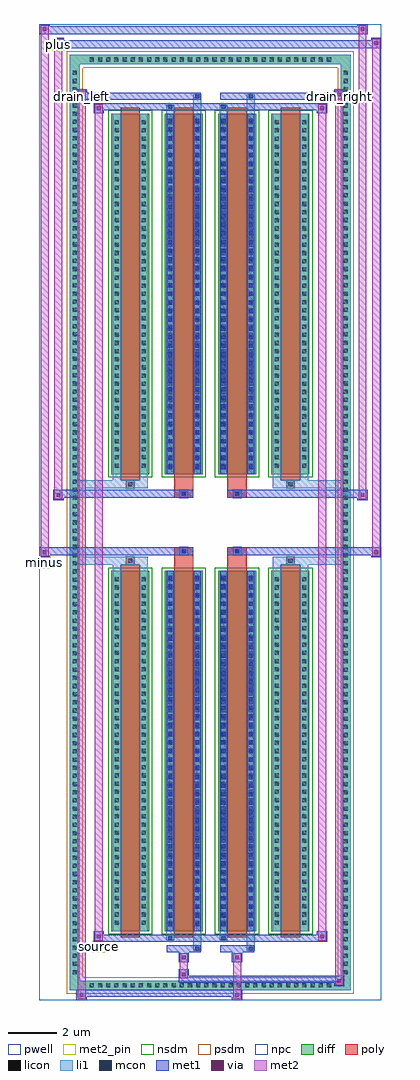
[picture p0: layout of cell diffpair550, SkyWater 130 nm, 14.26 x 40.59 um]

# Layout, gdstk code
import gdstk
lib = gdstk.Library(unit=1e-6, precision=5e-09)
def R(c, l, rs):  # rectangles x0, y0, x1, y1
    for r in rs: c.add(gdstk.rectangle(r[:2], r[2:], *l))
def A(c, l, x, y, w, h, nx, ny, dx, dy):  # array of equal rectangles
    R(c, l, [(x+i*dx, y+j*dy, x+i*dx+w, y+j*dy+h) for i in range(nx) for j in range(ny)])
def P(c, l, *ps):  # polygons
    for p in ps: c.add(gdstk.Polygon(p, *l))
pwell = (64, 44)
diff = (65, 20)
poly = (66, 20)
licon = (66, 44)
li1 = (67, 20)
mcon = (67, 44)
met1 = (68, 20)
via = (68, 44)
met2_pin = (69, 16)
met2 = (69, 20)
nsdm = (93, 44)
psdm = (94, 20)
npc = (95, 20)

diffpair550 = lib.new_cell('diffpair550')
R(diffpair550, pwell, [(-7.11,-19.86,7.11,20.73), (-4.43,-18.05,-0.01,-0.825), (0.01,-18.05,4.43,-0.825), (-4.43,0.825,-0.01,18.05), (0.01,0.825,4.43,18.05)])
A(diffpair550, diff, -5.135, -19.46, 0.41, 0.41, 30, 2, 0.34, 38.51)
A(diffpair550, diff, -5.84, -18.905, 0.41, 0.41, 1, 111, 0, 0.34)
A(diffpair550, diff, 5.43, -18.905, 0.41, 0.41, 1, 111, 0, 0.34)
A(diffpair550, diff, -4.12, -17.005, 1.58, 15, 4, 2, 2.22, 19.01)
R(diffpair550, diff, [(-5.135,-19.46,5.135,-19.05), (-5.84,-18.905,-5.43,18.905), (5.43,-18.905,5.84,18.905), (-5.135,19.05,5.135,19.46)])
P(diffpair550, diff, [(5.84,19.46),(-5.84,19.46),(-5.84,-19.05),(-5.43,-19.05),(-5.43,19.05),(5.43,19.05),(5.43,-19.05),(-5.43,-19.05),(-5.84,-19.05),(-5.84,-19.46),(5.84,-19.46)])
A(diffpair550, poly, -3.73, -17.255, 0.8, 15.5, 4, 2, 2.22, 19.01)
R(diffpair550, poly, [(-3.495,-1.755,-3.165,-1.425), (-3.495,-1.755,-3.165,-1.425), (-1.51,-1.755,-0.71,-1.355), (0.71,-1.755,1.51,-1.355), (3.165,-1.755,3.495,-1.425), (3.165,-1.755,3.495,-1.425), (-1.51,-1.355,-0.71,-1.025), (-1.275,-1.355,-0.945,-1.025), (0.71,-1.355,1.51,-1.025), (0.945,-1.355,1.275,-1.025), (-1.51,1.025,-0.71,1.355), (-1.275,1.025,-0.945,1.355), (0.71,1.025,1.51,1.355), (0.945,1.025,1.275,1.355), (-1.51,1.355,-0.71,1.755), (0.71,1.355,1.51,1.755), (-3.495,1.425,-3.165,1.755), (-3.495,1.425,-3.165,1.755), (3.165,1.425,3.495,1.755), (3.165,1.425,3.495,1.755)])
A(diffpair550, licon, -5.015, -19.34, 0.17, 0.17, 30, 2, 0.34, 38.51)
A(diffpair550, licon, -5.72, -18.785, 0.17, 0.17, 1, 111, 0, 0.34)
A(diffpair550, licon, 5.55, -18.785, 0.17, 0.17, 1, 111, 0, 0.34)
A(diffpair550, licon, -3.98, -16.73, 0.17, 0.17, 1, 43, 0, 0.34)
A(diffpair550, licon, -2.85, -16.73, 0.17, 0.17, 1, 43, 0, 0.34)
A(diffpair550, licon, -1.76, -16.73, 0.17, 0.17, 1, 43, 0, 0.34)
A(diffpair550, licon, -0.63, -16.73, 0.17, 0.17, 1, 43, 0, 0.34)
A(diffpair550, licon, 0.46, -16.73, 0.17, 0.17, 1, 43, 0, 0.34)
A(diffpair550, licon, 1.59, -16.73, 0.17, 0.17, 1, 43, 0, 0.34)
A(diffpair550, licon, 2.68, -16.73, 0.17, 0.17, 1, 43, 0, 0.34)
A(diffpair550, licon, 3.81, -16.73, 0.17, 0.17, 1, 43, 0, 0.34)
A(diffpair550, licon, -3.98, 2.28, 0.17, 0.17, 1, 43, 0, 0.34)
A(diffpair550, licon, -2.85, 2.28, 0.17, 0.17, 1, 43, 0, 0.34)
A(diffpair550, licon, -1.76, 2.28, 0.17, 0.17, 1, 43, 0, 0.34)
A(diffpair550, licon, -0.63, 2.28, 0.17, 0.17, 1, 43, 0, 0.34)
A(diffpair550, licon, 0.46, 2.28, 0.17, 0.17, 1, 43, 0, 0.34)
A(diffpair550, licon, 1.59, 2.28, 0.17, 0.17, 1, 43, 0, 0.34)
A(diffpair550, licon, 2.68, 2.28, 0.17, 0.17, 1, 43, 0, 0.34)
A(diffpair550, licon, 3.81, 2.28, 0.17, 0.17, 1, 43, 0, 0.34)
R(diffpair550, licon, [(-3.415,-1.675,-3.245,-1.505), (3.245,-1.675,3.415,-1.505), (-1.195,-1.275,-1.025,-1.105), (1.025,-1.275,1.195,-1.105), (-1.195,1.105,-1.025,1.275), (1.025,1.105,1.195,1.275), (-3.415,1.505,-3.245,1.675), (3.245,1.505,3.415,1.675)])
A(diffpair550, li1, -5.095, -19.42, 0.33, 0.33, 30, 2, 0.34, 38.51)
A(diffpair550, li1, -5.8, -18.865, 0.33, 0.33, 1, 111, 0, 0.34)
A(diffpair550, li1, 5.47, -18.865, 0.33, 0.33, 1, 111, 0, 0.34)
A(diffpair550, li1, -4.06, -16.81, 0.33, 0.33, 1, 43, 0, 0.34)
A(diffpair550, li1, -2.93, -16.81, 0.33, 0.33, 1, 43, 0, 0.34)
A(diffpair550, li1, -1.84, -16.81, 0.33, 0.33, 1, 43, 0, 0.34)
A(diffpair550, li1, -0.71, -16.81, 0.33, 0.33, 1, 43, 0, 0.34)
A(diffpair550, li1, 0.38, -16.81, 0.33, 0.33, 1, 43, 0, 0.34)
A(diffpair550, li1, 1.51, -16.81, 0.33, 0.33, 1, 43, 0, 0.34)
A(diffpair550, li1, 2.6, -16.81, 0.33, 0.33, 1, 43, 0, 0.34)
A(diffpair550, li1, 3.73, -16.81, 0.33, 0.33, 1, 43, 0, 0.34)
A(diffpair550, li1, -1.76, -16.79, 0.17, 0.17, 1, 41, 0, 0.36)
A(diffpair550, li1, -0.63, -16.79, 0.17, 0.17, 1, 41, 0, 0.36)
A(diffpair550, li1, 0.46, -16.79, 0.17, 0.17, 1, 41, 0, 0.36)
A(diffpair550, li1, 1.59, -16.79, 0.17, 0.17, 1, 41, 0, 0.36)
A(diffpair550, li1, -4.06, 2.2, 0.33, 0.33, 1, 43, 0, 0.34)
A(diffpair550, li1, -2.93, 2.2, 0.33, 0.33, 1, 43, 0, 0.34)
A(diffpair550, li1, -1.84, 2.2, 0.33, 0.33, 1, 43, 0, 0.34)
A(diffpair550, li1, -0.71, 2.2, 0.33, 0.33, 1, 43, 0, 0.34)
A(diffpair550, li1, 0.38, 2.2, 0.33, 0.33, 1, 43, 0, 0.34)
A(diffpair550, li1, 1.51, 2.2, 0.33, 0.33, 1, 43, 0, 0.34)
A(diffpair550, li1, 2.6, 2.2, 0.33, 0.33, 1, 43, 0, 0.34)
A(diffpair550, li1, 3.73, 2.2, 0.33, 0.33, 1, 43, 0, 0.34)
A(diffpair550, li1, -1.76, 2.22, 0.17, 0.17, 1, 41, 0, 0.36)
A(diffpair550, li1, -0.63, 2.22, 0.17, 0.17, 1, 41, 0, 0.36)
A(diffpair550, li1, 0.46, 2.22, 0.17, 0.17, 1, 41, 0, 0.36)
A(diffpair550, li1, 1.59, 2.22, 0.17, 0.17, 1, 41, 0, 0.36)
R(diffpair550, li1, [(-5.84,-19.46,-5.43,-19.05), (-5.84,-19.46,-5.43,-19.05), (-5.43,-19.46,5.43,-19.05), (5.43,-19.46,5.84,-19.05), (5.43,-19.46,5.84,-19.05), (-5.84,-19.05,-5.43,19.05), (5.43,-19.05,5.84,19.05), (-0.71,-17.81,-0.38,-17.005), (-0.63,-17.81,-0.46,-17.64), (1.51,-17.81,1.84,-17.005), (1.59,-17.81,1.76,-17.64), (-1.84,-17.38,-1.51,-17.005), (-1.76,-17.38,-1.59,-17.21), (0.38,-17.38,0.71,-17.005), (0.46,-17.38,0.63,-17.21), (-4.06,-17.005,-3.73,-2.005), (-2.93,-17.005,-2.6,-2.005), (-1.84,-17.005,-1.51,-2.005), (-0.71,-17.005,-0.38,-2.005), (0.38,-17.005,0.71,-2.005), (1.51,-17.005,1.84,-2.005), (2.6,-17.005,2.93,-2.005), (3.73,-17.005,4.06,-2.005), (-1.76,-16.79,-1.59,-2.22), (-0.63,-16.79,-0.46,-2.22), (0.46,-16.79,0.63,-2.22), (1.59,-16.79,1.76,-2.22), (-4.06,-2.005,-3.73,-1.425), (-2.93,-2.005,-2.6,-1.425), (2.6,-2.005,2.93,-1.425), (3.73,-2.005,4.06,-1.425), (-5.84,-1.755,-3.495,-1.425), (-4.06,-1.755,-3.495,-1.425), (-3.495,-1.755,-3.165,-1.425), (-3.165,-1.755,-2.6,-1.425), (2.6,-1.755,3.165,-1.425), (3.165,-1.755,3.495,-1.425), (3.165,-1.755,5.84,-1.425), (3.495,-1.755,4.06,-1.425), (-1.275,-1.355,-0.945,-1.025), (0.945,-1.355,1.275,-1.025), (-1.275,1.025,-0.945,1.355), (0.945,1.025,1.275,1.355), (-5.84,1.425,-3.495,1.755), (-4.06,1.425,-3.495,1.755), (-4.06,1.425,-3.73,2.005), (-3.495,1.425,-3.165,1.755), (-3.165,1.425,-2.6,1.755), (-2.93,1.425,-2.6,2.005), (2.6,1.425,3.165,1.755), (2.6,1.425,2.93,2.005), (3.165,1.425,3.495,1.755), (3.165,1.425,5.84,1.755), (3.495,1.425,4.06,1.755), (3.73,1.425,4.06,2.005), (-4.06,2.005,-3.73,17.005), (-2.93,2.005,-2.6,17.005), (-1.84,2.005,-1.51,17.005), (-0.71,2.005,-0.38,17.005), (0.38,2.005,0.71,17.005), (1.51,2.005,1.84,17.005), (2.6,2.005,2.93,17.005), (3.73,2.005,4.06,17.005), (-1.76,2.22,-1.59,16.79), (-0.63,2.22,-0.46,16.79), (0.46,2.22,0.63,16.79), (1.59,2.22,1.76,16.79), (-1.84,17.005,-1.51,17.38), (-0.71,17.005,-0.38,17.81), (0.38,17.005,0.71,17.38), (1.51,17.005,1.84,17.81), (-1.76,17.21,-1.59,17.38), (0.46,17.21,0.63,17.38), (-0.63,17.64,-0.46,17.81), (1.59,17.64,1.76,17.81), (-5.84,19.05,-5.43,19.46), (-5.84,19.05,-5.43,19.46), (-5.43,19.05,5.43,19.46), (5.43,19.05,5.84,19.46), (5.43,19.05,5.84,19.46)])
A(diffpair550, mcon, -1.76, -16.79, 0.17, 0.17, 1, 41, 0, 0.36)
A(diffpair550, mcon, -0.63, -16.79, 0.17, 0.17, 1, 41, 0, 0.36)
A(diffpair550, mcon, 0.46, -16.79, 0.17, 0.17, 1, 41, 0, 0.36)
A(diffpair550, mcon, 1.59, -16.79, 0.17, 0.17, 1, 41, 0, 0.36)
A(diffpair550, mcon, -1.76, 2.22, 0.17, 0.17, 1, 41, 0, 0.36)
A(diffpair550, mcon, -0.63, 2.22, 0.17, 0.17, 1, 41, 0, 0.36)
A(diffpair550, mcon, 0.46, 2.22, 0.17, 0.17, 1, 41, 0, 0.36)
A(diffpair550, mcon, 1.59, 2.22, 0.17, 0.17, 1, 41, 0, 0.36)
R(diffpair550, mcon, [(-0.63,-17.81,-0.46,-17.64), (1.59,-17.81,1.76,-17.64), (-1.76,-17.38,-1.59,-17.21), (0.46,-17.38,0.63,-17.21), (-1.195,-1.275,-1.025,-1.105), (1.025,-1.275,1.195,-1.105), (-1.195,1.105,-1.025,1.275), (1.025,1.105,1.195,1.275), (-1.76,17.21,-1.59,17.38), (0.46,17.21,0.63,17.38), (-0.63,17.64,-0.46,17.81), (1.59,17.64,1.76,17.81)])
A(diffpair550, met1, -1.82, -16.85, 0.29, 0.29, 1, 41, 0, 0.36)
A(diffpair550, met1, -0.69, -16.85, 0.29, 0.29, 1, 41, 0, 0.36)
A(diffpair550, met1, 0.4, -16.85, 0.29, 0.29, 1, 41, 0, 0.36)
A(diffpair550, met1, 1.53, -16.85, 0.29, 0.29, 1, 41, 0, 0.36)
A(diffpair550, met1, -1.82, 2.16, 0.29, 0.29, 1, 41, 0, 0.36)
A(diffpair550, met1, -0.69, 2.16, 0.29, 0.29, 1, 41, 0, 0.36)
A(diffpair550, met1, 0.4, 2.16, 0.29, 0.29, 1, 41, 0, 0.36)
A(diffpair550, met1, 1.53, 2.16, 0.29, 0.29, 1, 41, 0, 0.36)
R(diffpair550, met1, [(-5.57,-19.86,-5.14,-19.43), (0.895,-19.86,1.325,-19.43), (-5.57,-19.72,1.325,-19.43), (5.14,-19.29,5.57,-18.86), (-1.325,-19.15,5.57,-18.86), (-1.325,-19.01,-0.895,-18.58), (-1.325,-18.3,-0.895,-17.87), (0.895,-18.3,1.325,-17.87), (-1.82,-17.87,-0.4,-17.58), (-0.69,-17.87,-0.4,-17.58), (0.4,-17.87,1.82,-17.58), (1.53,-17.87,1.82,-17.58), (-4.86,-17.44,-4.43,-17.01), (-4.86,-17.44,-1.82,-17.15), (-1.82,-17.44,-1.53,-17.15), (-1.82,-17.44,-0.4,-17.15), (-0.4,-17.44,0.4,-17.15), (0.4,-17.44,0.69,-17.15), (0.4,-17.44,1.82,-17.15), (1.82,-17.44,4.86,-17.15), (4.43,-17.44,4.86,-17.01), (-1.82,-17.005,-1.53,-2.005), (-0.69,-17.005,-0.4,-2.005), (0.4,-17.005,0.69,-2.005), (1.53,-17.005,1.82,-2.005), (-7.11,-1.455,-6.68,-1.025), (6.68,-1.455,7.11,-1.025), (-7.11,-1.355,-0.71,-1.025), (-1.51,-1.355,-0.71,-1.025), (0.71,-1.355,1.51,-1.025), (0.71,-1.355,7.11,-1.025), (-1.255,-1.335,-0.965,-1.045), (0.965,-1.335,1.255,-1.045), (-6.54,0.925,-6.11,1.355), (6.11,0.925,6.54,1.355), (-6.54,1.025,-1.51,1.355), (-1.51,1.025,-0.71,1.355), (0.71,1.025,1.51,1.355), (1.51,1.025,6.54,1.355), (-1.255,1.045,-0.965,1.335), (0.965,1.045,1.255,1.335), (-1.82,2.005,-1.53,17.005), (-0.69,2.005,-0.4,17.005), (0.4,2.005,0.69,17.005), (1.53,2.005,1.82,17.005), (-4.86,17.01,-4.43,17.44), (4.43,17.01,4.86,17.44), (-4.86,17.15,-1.82,17.44), (-1.82,17.15,-1.53,17.44), (-1.82,17.15,-0.4,17.44), (-0.4,17.15,0.4,17.44), (0.4,17.15,0.69,17.44), (0.4,17.15,1.82,17.44), (1.82,17.15,4.86,17.44), (-5.57,17.58,-5.14,18.01), (-5.57,17.58,-1.82,17.87), (-1.82,17.58,-0.4,17.87), (-0.69,17.58,-0.4,17.87), (0.4,17.58,1.82,17.87), (1.53,17.58,1.82,17.87), (1.82,17.58,5.57,17.87), (5.14,17.58,5.57,18.01), (-6.54,19.73,-6.11,20.16), (-6.54,19.73,-4.43,20.06), (-4.43,19.73,4.43,20.06), (4.43,19.73,7.11,20.06), (6.68,19.73,7.11,20.16), (-7.11,20.3,-6.68,20.73), (-7.11,20.3,-4.43,20.63), (-4.43,20.3,4.43,20.63), (4.43,20.3,6.54,20.63), (6.11,20.3,6.54,20.73)])
R(diffpair550, via, [(-5.43,-19.72,-5.28,-19.57), (1.035,-19.72,1.185,-19.57), (5.28,-19.15,5.43,-19), (-1.185,-18.87,-1.035,-18.72), (-1.185,-18.16,-1.035,-18.01), (1.035,-18.16,1.185,-18.01), (-4.72,-17.3,-4.57,-17.15), (4.57,-17.3,4.72,-17.15), (-6.97,-1.315,-6.82,-1.165), (6.82,-1.315,6.97,-1.165), (-6.4,1.065,-6.25,1.215), (6.25,1.065,6.4,1.215), (-4.72,17.15,-4.57,17.3), (4.57,17.15,4.72,17.3), (-5.43,17.72,-5.28,17.87), (5.28,17.72,5.43,17.87), (-6.4,19.87,-6.25,20.02), (6.82,19.87,6.97,20.02), (-6.97,20.44,-6.82,20.59), (6.25,20.44,6.4,20.59)])
R(diffpair550, met2_pin, [(-4.895,-17.89,-4.395,-17.39), (-7.145,-1.905,-6.645,-1.405), (-5.605,17.46,-5.105,17.96), (5.105,17.46,5.605,17.96), (-6.575,19.61,-6.075,20.11)])
R(diffpair550, met2, [(-5.52,-19.81,-5.19,-19.48), (-5.52,-19.81,-5.19,17.96), (0.945,-19.81,1.275,-19.48), (0.945,-19.48,1.275,-18.25), (5.19,-19.24,5.52,-18.91), (5.19,-19.24,5.52,17.96), (-1.275,-18.96,-0.945,-18.63), (-1.275,-18.63,-0.945,-18.25), (-1.275,-18.25,-0.945,-17.92), (0.945,-18.25,1.275,-17.92), (-4.81,-17.39,-4.48,-17.06), (-4.81,-17.39,-4.48,17.39), (4.48,-17.39,4.81,-17.06), (4.48,-17.39,4.81,17.39), (-7.06,-1.405,-6.73,-1.075), (-7.06,-1.405,-6.73,20.68), (6.73,-1.405,7.06,-1.075), (6.73,-1.405,7.06,20.11), (-6.49,0.975,-6.16,1.305), (-6.49,0.975,-6.16,20.11), (6.16,0.975,6.49,1.305), (6.16,0.975,6.49,20.68), (-4.81,17.06,-4.48,17.39), (4.48,17.06,4.81,17.39), (-5.52,17.63,-5.19,17.96), (5.19,17.63,5.52,17.96), (-6.49,19.78,-6.16,20.11), (6.73,19.78,7.06,20.11), (-7.06,20.35,-6.73,20.68), (6.16,20.35,6.49,20.68)])
P(diffpair550, met2, [(7.06,-1.405),(7.06,-1.405),(7.06,-1.075),(7.06,-1.075)],
  [(7.06,19.78),(7.06,19.78),(7.06,20.11),(7.06,20.11)],
  [(-6.73,-1.405),(-6.73,-1.405),(-6.73,-1.075),(-6.73,-1.075)],
  [(-6.73,20.35),(-6.73,20.35),(-6.73,20.68),(-6.73,20.68)],
  [(6.49,0.975),(6.49,0.975),(6.49,1.305),(6.49,1.305)],
  [(6.49,20.35),(6.49,20.35),(6.49,20.68),(6.49,20.68)],
  [(-6.16,0.975),(-6.16,0.975),(-6.16,1.305),(-6.16,1.305)],
  [(-6.16,19.78),(-6.16,19.78),(-6.16,20.11),(-6.16,20.11)],
  [(-5.19,-19.81),(-5.19,-19.81),(-5.19,-19.48),(-5.19,-19.48)],
  [(-5.19,17.63),(-5.19,17.63),(-5.19,17.96),(-5.19,17.96)],
  [(5.52,-19.24),(5.52,-19.24),(5.52,-18.91),(5.52,-18.91)],
  [(5.52,17.63),(5.52,17.63),(5.52,17.96),(5.52,17.96)],
  [(-4.48,-17.39),(-4.48,-17.39),(-4.48,-17.06),(-4.48,-17.06)],
  [(-4.48,17.06),(-4.48,17.06),(-4.48,17.39),(-4.48,17.39)],
  [(4.81,-17.39),(4.81,-17.39),(4.81,-17.06),(4.81,-17.06)],
  [(4.81,17.06),(4.81,17.06),(4.81,17.39),(4.81,17.39)])
A(diffpair550, nsdm, -4.25, -17.135, 1.84, 15.26, 4, 2, 2.22, 19.01)
P(diffpair550, psdm, [(5.97,19.59),(-5.97,19.59),(-5.97,-18.92),(-5.3,-18.92),(-5.3,18.92),(5.3,18.92),(5.3,-18.92),(-5.3,-18.92),(-5.97,-18.92),(-5.97,-19.59),(5.97,-19.59)])
R(diffpair550, npc, [(-3.515,-1.775,-3.145,-1.405), (3.145,-1.775,3.515,-1.405), (-1.295,-1.375,-0.925,-1.005), (0.925,-1.375,1.295,-1.005), (-1.295,1.005,-0.925,1.375), (0.925,1.005,1.295,1.375), (-3.515,1.405,-3.145,1.775), (3.145,1.405,3.515,1.775)])
diffpair550.add(gdstk.Label('minus', (-6.895,-1.655), layer=69, texttype=5))
diffpair550.add(gdstk.Label('drain_right', (5.355,17.71), layer=69, texttype=5))
diffpair550.add(gdstk.Label('drain_left', (-5.355,17.71), layer=69, texttype=5))
diffpair550.add(gdstk.Label('source', (-4.645,-17.64), layer=69, texttype=5))
diffpair550.add(gdstk.Label('plus', (-6.325,19.86), layer=69, texttype=5))

lib.write_gds('diffpair550.gds')
